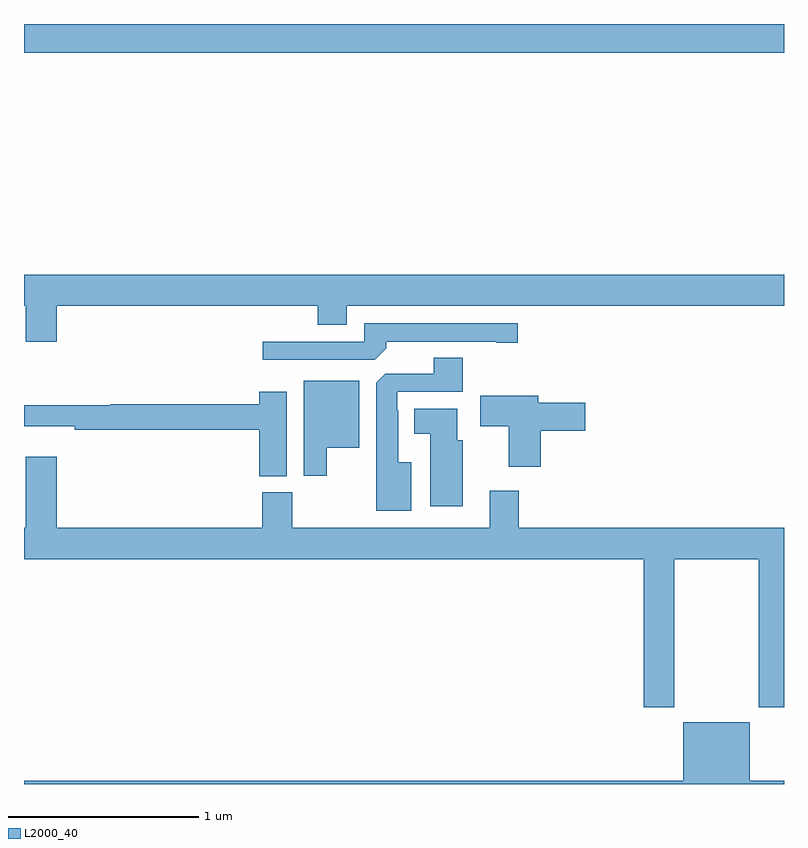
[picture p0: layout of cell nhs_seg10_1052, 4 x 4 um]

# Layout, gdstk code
import gdstk
lib = gdstk.Library(unit=1e-6, precision=1e-09)
def R(c, l, rs):  # rectangles x0, y0, x1, y1
    for r in rs: c.add(gdstk.rectangle(r[:2], r[2:], *l))
def P(c, l, *ps):  # polygons
    for p in ps: c.add(gdstk.Polygon(p, *l))
L2000_40 = (2000, 40)

nhs_seg10_1052 = lib.new_cell('nhs_seg10_1052')
R(nhs_seg10_1052, L2000_40, [(165,1268.348,169,1268.5)])
P(nhs_seg10_1052, L2000_40, [(165.172,1267.016),(166.547,1267.016),(166.547,1266.917),(166.699,1266.917),(166.699,1267.016),(169,1267.016),(169,1267.18),(165,1267.18),(165,1267.016),(165.008,1267.016),(165.008,1266.828),(165.172,1266.828)],
  [(166.907,1266.794),(166.907,1266.828),(167.486,1266.828),(167.486,1266.823),(167.599,1266.823),(167.599,1266.924),(166.791,1266.924),(166.791,1266.828),(166.257,1266.828),(166.257,1266.732),(166.845,1266.732)],
  [(167.038,1266.193),(166.969,1266.193),(166.969,1266.467),(166.965,1266.467),(166.965,1266.564),(167.309,1266.564),(167.309,1266.743),(167.156,1266.743),(167.156,1266.66),(166.902,1266.66),(166.853,1266.611),(166.853,1265.939),(167.038,1265.939)],
  [(166.594,1266.269),(166.765,1266.269),(166.765,1266.622),(166.472,1266.622),(166.472,1266.123),(166.594,1266.123)],
  [(166.384,1266.565),(166.238,1266.565),(166.238,1266.5),(165.454,1266.5),(165.454,1266.493),(165,1266.493),(165,1266.383),(165.268,1266.383),(165.268,1266.364),(166.238,1266.364),(166.238,1266.121),(166.384,1266.121)],
  [(167.72,1266.359),(167.953,1266.359),(167.953,1266.506),(167.707,1266.506),(167.707,1266.544),(167.4,1266.544),(167.4,1266.382),(167.552,1266.382),(167.552,1266.171),(167.72,1266.171)],
  [(167.308,1266.309),(167.281,1266.309),(167.281,1266.475),(167.054,1266.475),(167.054,1266.344),(167.138,1266.344),(167.138,1265.961),(167.308,1265.961)],
  [(168.423,1265.684),(168.868,1265.684),(168.868,1264.905),(169,1264.905),(169,1265.848),(167.603,1265.848),(167.603,1266.043),(167.45,1266.043),(167.45,1265.848),(166.413,1265.848),(166.413,1266.036),(166.253,1266.036),(166.253,1265.848),(165.172,1265.848),(165.172,1266.223),(165.008,1266.223),(165.008,1265.848),(165,1265.848),(165,1265.684),(168.263,1265.684),(168.263,1264.905),(168.423,1264.905)],
  [(169,1264.516),(168.82,1264.516),(168.82,1264.825),(168.47,1264.825),(168.47,1264.516),(165,1264.516),(165,1264.5),(169,1264.5)])

lib.write_gds('nhs_seg10_1052.gds')
